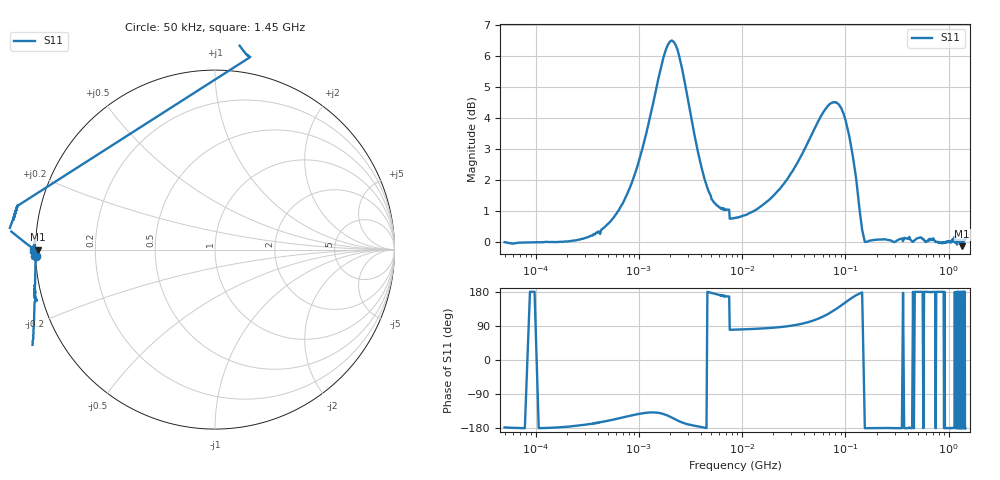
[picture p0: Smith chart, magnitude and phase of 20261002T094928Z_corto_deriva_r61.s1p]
! piloto_deriva / corto_deriva / r61
# HZ S RI R 50
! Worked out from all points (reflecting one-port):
!   501 points, 50 kHz to 1.45 GHz, reference 50 ohm
!   lowest |S11| = -0.1 dB at 1.351 GHz (marker M1), VSWR 132.94, Z = 0.376 - j0.0278 ohm
!   phase of S11 starts at -178 deg and turns -2 deg over the sweep
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50000  -0.9992 -0.0373
183000  -0.9997 -0.0522
354000  -1.005 -0.1973
658000  -1.016 -0.5109
1180000  -1.136 -0.9803
1630000  -1.476 -1.209
1990000  -1.81 -1.076
2170000  -1.9 -0.9064
2440000  -1.899 -0.6378
3070000  -1.628 -0.27
4330000  -1.262 -0.0298
7300000  -1.102 0.2422
7750000  0.1934 1.074
8560000  0.1865 1.078
1.9e7  0.1104 1.173
3.16e7  -0.0342 1.312
4.69e7  -0.3236 1.453
6.76e7  -0.8594 1.418
7.93e7  -1.14 1.238
9.37e7  -1.355 0.8997
9.82e7  -1.385 0.784
1e8  -1.391 0.7391
1.18e8  -1.332 0.3394
1.36e8  -1.135 0.1004
1.63e8  -1.002 -0.00319
4.06e8  -1.012 -0.00199
1.351e9  -0.9851 -0.0011
1.45e9  -1.012 -0.00125
